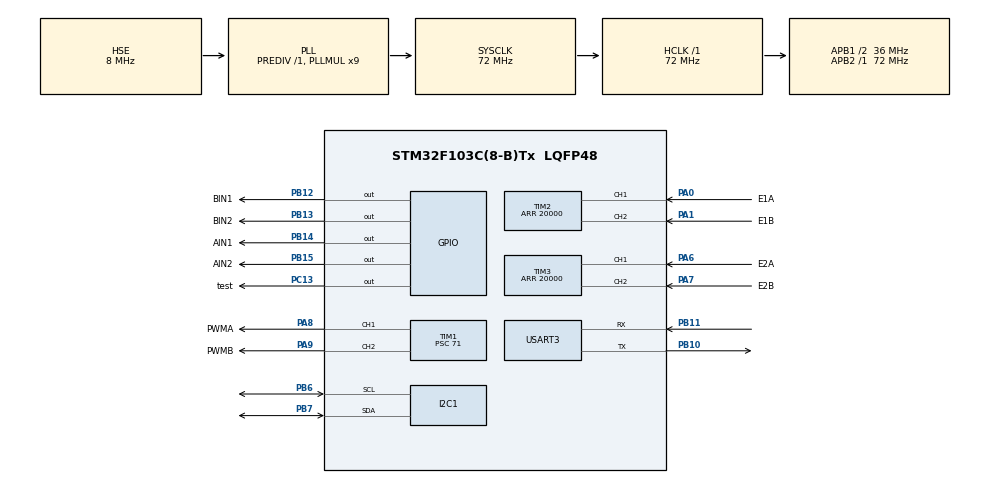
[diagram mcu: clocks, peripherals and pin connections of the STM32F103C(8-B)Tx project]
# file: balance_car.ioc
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I2C1.I2C_Mode=I2C_Fast
Mcu.Family=STM32F1
Mcu.Name=STM32F103C(8-B)Tx
Mcu.Package=LQFP48
NVIC.PriorityGroup=NVIC_PRIORITYGROUP_4
NVIC.TIM1_UP_IRQn=true\:2\:0\:true\:false\:true\:true\:true\:true
NVIC.TIM4_IRQn=true\:2\:0\:true\:false\:true\:true\:true\:true
NVIC.USART3_IRQn=true\:0\:0\:false\:false\:true\:true\:true\:true
PA0-WKUP.GPIO_Label=E1A
PA0-WKUP.Signal=S_TIM2_CH1_ETR
PA1.GPIO_Label=E1B
PA1.Signal=S_TIM2_CH2
PA13.Mode=Serial_Wire
PA13.Signal=SYS_JTMS-SWDIO
PA14.Mode=Serial_Wire
PA14.Signal=SYS_JTCK-SWCLK
PA6.GPIO_Label=E2A
PA6.Signal=S_TIM3_CH1
PA7.GPIO_Label=E2B
PA7.Signal=S_TIM3_CH2
PA8.GPIO_Label=PWMA
PA8.Signal=S_TIM1_CH1
PA9.GPIO_Label=PWMB
PA9.Signal=S_TIM1_CH2
PB10.Mode=Asynchronous
PB10.Signal=USART3_TX
PB11.Mode=Asynchronous
PB11.Signal=USART3_RX
PB12.GPIO_Label=BIN1
PB12.PinState=GPIO_PIN_SET
PB12.Signal=GPIO_Output
PB13.GPIO_Label=BIN2
PB13.Signal=GPIO_Output
PB14.GPIO_Label=AIN1
PB14.PinState=GPIO_PIN_SET
PB14.Signal=GPIO_Output
PB15.GPIO_Label=AIN2
PB15.Signal=GPIO_Output
PB6.Mode=I2C
PB6.Signal=I2C1_SCL
PB7.Mode=I2C
PB7.Signal=I2C1_SDA
PC13-TAMPER-RTC.GPIO_Label=test
PC13-TAMPER-RTC.PinState=GPIO_PIN_SET
PC13-TAMPER-RTC.Signal=GPIO_Output
PD0-OSC_IN.Mode=HSE-External-Oscillator
PD0-OSC_IN.Signal=RCC_OSC_IN
PD1-OSC_OUT.Mode=HSE-External-Oscillator
PD1-OSC_OUT.Signal=RCC_OSC_OUT
ProjectManager.HeapSize=0x200
ProjectManager.StackSize=0x400
ProjectManager.TargetToolchain=STM32CubeIDE
RCC.AHBFreq_Value=72000000
RCC.APB1CLKDivider=RCC_HCLK_DIV2
RCC.APB1Freq_Value=36000000
RCC.APB1TimFreq_Value=72000000
RCC.APB2Freq_Value=72000000
RCC.APB2TimFreq_Value=72000000
RCC.HCLKFreq_Value=72000000
RCC.PLLMUL=RCC_PLL_MUL9
RCC.PLLSourceVirtual=RCC_PLLSOURCE_HSE
RCC.SYSCLKFreq_VALUE=72000000
RCC.SYSCLKSource=RCC_SYSCLKSOURCE_PLLCLK
RCC.USBFreq_Value=72000000
SH.S_TIM1_CH1.0=TIM1_CH1,PWM Generation1 CH1
SH.S_TIM1_CH2.0=TIM1_CH2,PWM Generation2 CH2
SH.S_TIM2_CH1_ETR.0=TIM2_CH1,Encoder_Interface
SH.S_TIM2_CH2.0=TIM2_CH2,Encoder_Interface
SH.S_TIM3_CH1.0=TIM3_CH1,Encoder_Interface
SH.S_TIM3_CH2.0=TIM3_CH2,Encoder_Interface
TIM1.Channel-PWM\ Generation1\ CH1=TIM_CHANNEL_1
TIM1.Channel-PWM\ Generation2\ CH2=TIM_CHANNEL_2
TIM1.Period=999
TIM1.Prescaler=71
TIM2.EncoderMode=TIM_ENCODERMODE_TI12
TIM2.Period=20000
TIM3.EncoderMode=TIM_ENCODERMODE_TI12
TIM3.Period=20000
TIM4.Period=7999
TIM4.Prescaler=71
USART3.VirtualMode=VM_ASYNC
VP_TIM1_VS_ClockSourceINT.Mode=Internal
VP_TIM4_VS_ClockSourceINT.Mode=Internal
board=custom

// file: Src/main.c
/* USER CODE BEGIN Header */
/**
  ******************************************************************************
  * @file           : main.c
  * @brief          : Main program body
  ******************************************************************************
  * @attention
  *
  * Copyright (c) 2024 STMicroelectronics.
  * All rights reserved.
  *
  * This software is licensed under terms that can be found in the LICENSE file
  * in the root directory of this software component.
  * If no LICENSE file comes with this software, it is provided AS-IS.
  *
  ******************************************************************************
  */
/* USER CODE END Header */
#include "main.h"
#include "i2c.h"
#include "tim.h"
#include "usart.h"
#include "gpio.h"

/* USER CODE BEGIN Includes */
#include "stdio.h"
#include "retarget.h"
#include "string.h"
#include "pid.h"
#include "fliter.h"
#include "control.h"
#include "i2c.h"
#include "inv_mpu.h"
#include "inv_mpu_dmp_motion_driver.h"
#include "mpu6050.h"

/* USER CODE END Includes */

/* USER CODE BEGIN PV */

// int32_t lastAngle = 0;
// encoder PV
int32_t totalAngle1 = 0;       // 总的角度
int32_t totalAngle2 = 0;
int32_t lastAngle = 0;        // 上一次的角度
int16_t loopNum1 = 0;          // 防超上限
int16_t loopNum2 = 0;
float speed1 = 0;              // 转速单位：转/秒
float speed2 = 0;

// usart PV
uint8_t RxBuffer[1];          //串口接收缓冲
uint16_t RxLine = 0;          //指令长度
uint8_t DataBuff[200];        //指令内容
float SetSpeed = 0;           //设置目标速度（单位：转/秒）

// fliter PV
float mean_buff1[100];             //滤波缓冲
float mean_buff2[100];
float mean_buff3[100];
int buff_index1 = 0;                //滤波缓冲区索引
int buff_index2 = 0;

// i2c PV
float pitch = 0;
float roll = 0;
float yaw = 0;

// struct PID
PID_ControllerTypeDef motor1PID;
PID_ControllerTypeDef motor2PID;
PID_ControllerTypeDef IMUPID;
float pidoutputv1 = 0;
float pidoutputv2 = 0;
float pidoutputv = 0;
float pidoutputBc = 0;
float pid_end = 0;

/* USER CODE END PV */

void SystemClock_Config(void);
/* USER CODE BEGIN PFP */
void USART_PID_Adjust(uint8_t Motor_n,PID_ControllerTypeDef *pid);
float Get_Data(void);
/* USER CODE END PFP */

int main(void)
{

  /* MCU Configuration--------------------------------------------------------*/

  /* Reset of all peripherals, Initializes the Flash interface and the Systick. */
  HAL_Init();

  /* Configure the system clock */
  SystemClock_Config();

  /* Initialize all configured peripherals */
  MX_GPIO_Init();
  MX_TIM1_Init();
  MX_TIM2_Init();
  MX_TIM4_Init();
  MX_USART3_UART_Init();
  MX_I2C1_Init();
  MX_TIM3_Init();
  /* USER CODE BEGIN 2 */
  PID_Init(&motor1PID, 0, 0, 0, 0);
  RetargetInit(&huart3);
  HAL_TIM_Base_Init(&htim1);
  HAL_TIM_PWM_Start(&htim1, TIM_CHANNEL_1);
  HAL_TIM_PWM_Start(&htim1, TIM_CHANNEL_2);
  HAL_TIM_Encoder_Start(&htim2, TIM_CHANNEL_ALL);
  HAL_TIM_Encoder_Start(&htim3, TIM_CHANNEL_ALL);
  HAL_TIM_Base_Start_IT(&htim4);
  HAL_UART_Receive_IT(&huart3, (uint8_t *)RxBuffer, 1);
  while (MPU_Init())
  {
      printf("MPU6050 init failed\n");
  	  HAL_Delay(1000);
  }

  while (mpu_dmp_init())
  {
      printf("MPU6050 dmp init failed\n");
  	  HAL_Delay(1000);
  }

  /* USER CODE END 2 */

  /* Infinite loop */
  /* USER CODE BEGIN WHILE */
  while (1)
  {
     // printf("test");
     // printf("%f,%f,%f,%f,%f\n", motor1PID.Kp,motor1PID.Ki,motor1PID.Kd,speed,SetSpeed);
     //Set_pulse2(-100); // 满占空比时电机转速约�????? 5�?????/s
     // Set_pulse1(100);

//  	 printf("x_gyro:%d,y_gyro:%d,z_gyro:%d\n",x_gyro,y_gyro,z_gyro);
//  	 printf("%f,%f,%f,%f,%f,%f,%f,%f,%f\n", motor2PID.Kp,motor2PID.Ki,motor2PID.Kd,speed1,speed2,SetSpeed, pitch, roll, yaw);
        printf("%f,%f,%f,%f,%f,%f,%f\n", motor1PID.Kp,motor1PID.Ki,speed1,speed2,SetSpeed, pitch, roll);
//
//      printf("%f,%f,%f,%f\n", speed1 ,speed2, SetSpeed, pitch);
//       printf("%f\n", pitch); // 调试使用
      HAL_Delay(100);

	// HAL_Delay(100);
    /* USER CODE END WHILE */

  }
}

void SystemClock_Config(void)
{
  RCC_OscInitTypeDef RCC_OscInitStruct = {0};
  RCC_ClkInitTypeDef RCC_ClkInitStruct = {0};

  /** Initializes the RCC Oscillators according to the specified parameters
  * in the RCC_OscInitTypeDef structure.
  */
  RCC_OscInitStruct.OscillatorType = RCC_OSCILLATORTYPE_HSE;
  RCC_OscInitStruct.HSEState = RCC_HSE_ON;
  RCC_OscInitStruct.HSEPredivValue = RCC_HSE_PREDIV_DIV1;
  RCC_OscInitStruct.HSIState = RCC_HSI_ON;
  RCC_OscInitStruct.PLL.PLLState = RCC_PLL_ON;
  RCC_OscInitStruct.PLL.PLLSource = RCC_PLLSOURCE_HSE;
  RCC_OscInitStruct.PLL.PLLMUL = RCC_PLL_MUL9;
  if (HAL_RCC_OscConfig(&RCC_OscInitStruct) != HAL_OK)
  {
    Error_Handler();
  }

  /** Initializes the CPU, AHB and APB buses clocks
  */
  RCC_ClkInitStruct.ClockType = RCC_CLOCKTYPE_HCLK|RCC_CLOCKTYPE_SYSCLK
                              |RCC_CLOCKTYPE_PCLK1|RCC_CLOCKTYPE_PCLK2;
  RCC_ClkInitStruct.SYSCLKSource = RCC_SYSCLKSOURCE_PLLCLK;
  RCC_ClkInitStruct.AHBCLKDivider = RCC_SYSCLK_DIV1;
  RCC_ClkInitStruct.APB1CLKDivider = RCC_HCLK_DIV2;
  RCC_ClkInitStruct.APB2CLKDivider = RCC_HCLK_DIV1;

  if (HAL_RCC_ClockConfig(&RCC_ClkInitStruct, FLASH_LATENCY_2) != HAL_OK)
  {
    Error_Handler();
  }
}

/* USER CODE BEGIN 4 */
void HAL_TIM_PeriodElapsedCallback(TIM_HandleTypeDef *htim)
{
    // 定时10ms(72000000 / 72 / 10000)
    if (htim->Instance == htim4.Instance)
    {
        // 获取脉冲
        int16_t pluse1 = COUNTERNUM1;
        int16_t pluse2 = COUNTERNUM2;
        //    printf("%f,%f\n", COUNTERNUM1, COUNTERNUM2);

        totalAngle1 = pluse1;
        totalAngle2 = pluse2;

        // 计算速度
        speed1 = ((float)(RELOADVALUE / 2.0 - totalAngle1) / convert_param) * 100;  // 编码器计数方向相反
        speed2 = ((float)(totalAngle2 - RELOADVALUE / 2.0) / convert_param) * 100;

        // 获取角度
        mpu_dmp_get_data(&pitch, &roll, &yaw);

        // 滤波
        mean_buff1[buff_index1++] = speed1;
        mean_buff2[buff_index1++] = speed2;
        mean_buff3[buff_index2++] = pitch;
        speed1 = mean_fliter(mean_buff1, buff_index1);
        speed2 = mean_fliter(mean_buff2, buff_index1);
        pitch = mean_fliter(mean_buff3, buff_index2);

        // 索引更新
        if (buff_index1 >= fliter_mean_sample1)
        {
            buff_index1 = 0;
        }
         if (buff_index2 >= fliter_mean_sample1)
        {
            buff_index2 = 0;
        }
//      printf("%d, %d\n", totalAngle, lastAngle);                                // 调试使用
//      printf("%f, %f\n", (float)(totalAngle - lastAngle), speed);               // 调试使用
//      lastAngle = totalAngle;

        // 计算PID
        // pidoutputv1 = PID_Velocity(&motor1PID, speed1);
        // pidoutputv2 = PID_Velocity(&motor2PID, speed2);
        pidoutputv = PID_Velocity2(&motor1PID, speed1, speed2, pitch);
        pidoutputBc = PID_Balance_Calc(&IMUPID, pitch);

        // 串级pid运算
        pid_end = pidoutputBc - pidoutputv;

        // PID死区 && 执行操作
        stand(pid_end);
        // stand(pidoutputBc);

        // if ((SetSpeed - speed1) > 0.01 || (SetSpeed - speed1) < -0.01) {
        //           printf("哈哈我又来啦");
        // Set_pulse1(pidoutput1);
        // }
        //
        // if ((SetSpeed - speed2) > 0.01 || (SetSpeed - speed2) < -0.01) {
        //           printf("哈哈我又来啦");
        // Set_pulse2(pidoutput2);
        // }

        // 重置计数器
        __HAL_TIM_SetCounter(&htim2, RELOADVALUE / 2);
        __HAL_TIM_SetCounter(&htim3, RELOADVALUE / 2);

    //  printf("%f, %f, %f, %f, %f, %f\n", motor1PID.Kp, motor1PID.Ki, motor1PID.Kd, speed, SetSpeed, (float)(totalAngle - RELOADVALUE / 2.0)); // 调试使用

    }

}

void HAL_UART_RxCpltCallback(UART_HandleTypeDef *UartHandle)
{
    if (UartHandle->Instance == USART3)  // 判断是否是串口1产生的中断
    {

        RxLine++;                        // 每接收到一个数据，接收长度加1
        DataBuff[RxLine - 1] = RxBuffer[0];  // 将接收到的数据存入缓存数组

        if (RxBuffer[0] == '!')         // 判断是否接收到结束标志（这里以0x21为例，可以根据实际情况修改）
        {
            // printf("RXLen=%d\r\n", RxLine);  // 输出接收到的指令长度
            // for (int i = 0; i < RxLine; i++)
            //    printf("UART DataBuff[%d] = %c\r\n", i, DataBuff[i]);  // 输出接收到的完整指令

            USART_PID_Adjust(1, &motor1PID);  // 解析指令并赋值到对应变量（这里示例传入参数1，可根据实际情况修改）
            USART_PID_Adjust(2, &motor2PID);  // 解析指令并赋值到对应变量（这里示例传入参数1，可根据实际情况修改）
            USART_PID_Adjust(6, &IMUPID);  // 解析指令并赋值到对应变量（这里示例传入参数1，可根据实际情况修改）

            memset(DataBuff, 0, sizeof(DataBuff));  // 清空接收缓存
            RxLine = 0;  // 重置接收长度计数
        }

        RxBuffer[0] = 0;  // 清空接收缓冲
        HAL_UART_Receive_IT(&huart3, (uint8_t *)RxBuffer, 1);  // 重新启动串口中断接收下一个字符
    }
}

// 解析从指令缓存中提取数据
float Get_Data(void)
{
    float Decimal = 0;            // 小数数据
    float Integer = 0;            // 整数数据
    uint8_t data_Decimal_len = 0; // 小数数据长度
    uint8_t data_Integer_len = 0; // 整数数据长度
    uint8_t data_Point_Num = 0;   // 小数点位置
    uint8_t data_Start_Num = 0;   // 数据位开始位置
    uint8_t data_End_Num = 0;     // 数据位结束位置
    uint8_t minus_Flag = 0;       // 负数标志
    float data_return = 0;        // 解析得到的数据
    // 查找等号、小数点和感叹号的位置
    for (uint8_t i = 0; i < 200; i++)
    {
        if (DataBuff[i] == '=')
            data_Start_Num = i + 1;  // 找到等号后面的位置作为数据起始位
        if (DataBuff[i] == '.')
            data_Point_Num = i;
        if (DataBuff[i] == '!')
        {
            data_End_Num = i - 1;  // 找到感叹号前面的位置作为数据结束位
            break;
        }
    }

    // 判断数据是否为负数
    if (DataBuff[data_Start_Num] == '-')
    {
        data_Start_Num += 1;  // 如果是负数，数据起始位后移一位
        minus_Flag = 1;       // 设置负数标志
    }
    // 计算整数长度
    data_Integer_len = data_Point_Num - data_Start_Num;
    // 计算小数长度
    data_Decimal_len = data_End_Num - data_Point_Num;

    // 计算整数数据
    if (data_Integer_len != 0) // 为两位数
    {
        if (data_Integer_len == 1)
        {
            Integer = (DataBuff[data_Start_Num] - 48);
        }
        else if (data_Integer_len == 2)
        {
            Integer = (DataBuff[data_Start_Num] - 48) * 10 + (DataBuff[data_Start_Num + 1] - 48);
        }
        else if (data_Integer_len == 3)
        {
            Integer = (DataBuff[data_Start_Num] - 48) * 100 + (DataBuff[data_Start_Num + 1] - 48) * 10 +
            (DataBuff[data_Start_Num + 2] - 48);
        }
        else if (data_Integer_len == 4)
        {
            Integer = (DataBuff[data_Start_Num] - 48) * 1000 + (DataBuff[data_Start_Num + 1] - 48) * 100 +
            (DataBuff[data_Start_Num + 3] - 48) * 10 + (DataBuff[data_Start_Num + 4] - 48);
        }
    }
    // 计算小数数据
    if (data_Decimal_len != 0) // 为个位数
    {
        if (data_Decimal_len == 1)
        {
            Decimal = (DataBuff[data_End_Num] - 48) * 0.1f;
        }
        else if (data_Decimal_len == 2)
        {
            Decimal = (DataBuff[data_End_Num - 1] - 48) * 0.1f + (DataBuff[data_End_Num] - 48) * 0.01f;
        }
        else if (data_Decimal_len == 3)
        {
            Decimal = (DataBuff[data_End_Num - 2] - 48) * 0.1f + (DataBuff[data_End_Num - 1] - 48) * 0.01f +
                      (DataBuff[data_End_Num] - 48) * 0.001f;
        }
        else if (data_Decimal_len == 4)
        {
            Decimal = (DataBuff[data_End_Num - 3] - 48) * 0.1f + (DataBuff[data_End_Num - 2] - 48) * 0.01f +
                      (DataBuff[data_End_Num - 1] - 48) * 0.001f + (DataBuff[data_End_Num] - 48) * 0.0001f;
        }
        else if (data_Decimal_len == 5)
        {
            Decimal = (DataBuff[data_End_Num - 4] - 48) * 0.1f + (DataBuff[data_End_Num - 3] - 48) * 0.01f +
                      (DataBuff[data_End_Num - 2] - 48) * 0.001f + (DataBuff[data_End_Num - 1] - 48) * 0.0001f +
                      (DataBuff[data_End_Num] - 48) * 0.00001f;
        }
        else if (data_Decimal_len == 6)
        {
            Decimal = (DataBuff[data_End_Num - 5] - 48) * 0.1f + (DataBuff[data_End_Num - 4] - 48) * 0.01f +
                      (DataBuff[data_End_Num - 3] - 48) * 0.001f + (DataBuff[data_End_Num - 2] - 48) * 0.0001f +
                      (DataBuff[data_End_Num - 1] - 48) * 0.00001f + (DataBuff[data_End_Num] - 48) * 0.000001f;
        }

    }
    data_return = Integer + Decimal;
    if (minus_Flag == 1)
        data_return = -data_return;  // 如果是负数，取负值

    // printf("data_return:%lf\n", data_return);

    return data_return;  // 返回解析得到的数据
}

// 根据接收到的指令内容进行PID参数调整
void USART_PID_Adjust(uint8_t Motor_n, PID_ControllerTypeDef *pid)
{
    float data_Get = Get_Data();  // 解析得到的数据
    // 根据指令内容赋值到对应的PID参数或目标变量
    if (Motor_n == 1)  // 电机1
    {

        if (DataBuff[0] == 'P' && DataBuff[1] == '1')
            pid->Kp = data_Get;     // 速度环P参数
        else if (DataBuff[0] == 'I' && DataBuff[1] == '1')
            pid->Ki = data_Get;     // 速度环I参数
        else if (DataBuff[0] == 'D' && DataBuff[1] == '1')
            pid->Kd = data_Get;     // 速度环D参数
        else if ((DataBuff[0] == 'S' && DataBuff[1] == 'p') && DataBuff[2] == 'e')
            pid->setpoint = data_Get;     // 目标速度
            SetSpeed = pid->setpoint;

    }

    if (Motor_n == 2)  // 电机2
    {

        if (DataBuff[0] == 'P' && DataBuff[1] == '2')
            pid->Kp = data_Get;     // 速度环P参数
        else if (DataBuff[0] == 'I' && DataBuff[1] == '2')
            pid->Ki = data_Get;     // 速度环I参数
        else if (DataBuff[0] == 'D' && DataBuff[1] == '2')
            pid->Kd = data_Get;     // 速度环D参数
        else if ((DataBuff[0] == 'S' && DataBuff[1] == 'p') && DataBuff[2] == 'e')
            pid->setpoint = data_Get;     // 目标速度
        SetSpeed = pid->setpoint;

    }
    if (Motor_n == 1)  // 电机1
    {

        if (DataBuff[0] == 'P' && DataBuff[1] == '1')
            pid->Kp = data_Get;     // 速度环P参数
        else if (DataBuff[0] == 'I' && DataBuff[1] == '1')
            pid->Ki = data_Get;     // 速度环I参数
        else if (DataBuff[0] == 'D' && DataBuff[1] == '1')
            pid->Kd = data_Get;     // 速度环D参数
        else if ((DataBuff[0] == 'S' && DataBuff[1] == 'p') && DataBuff[2] == 'e')
            pid->setpoint = data_Get;     // 目标速度
        SetSpeed = pid->setpoint;

    }

    if (Motor_n == 6)  // IMU
    {

        if (DataBuff[0] == 'P' && DataBuff[1] == '6')
            pid->Kp = data_Get;     // 速度环P参数
        else if (DataBuff[0] == 'D' && DataBuff[1] == '6')
            pid->Kd = data_Get;     // 速度环D参数

    }
}

/* USER CODE END 4 */

void Error_Handler(void)
{
  __disable_irq();
  while (1)
  {
  }
}
